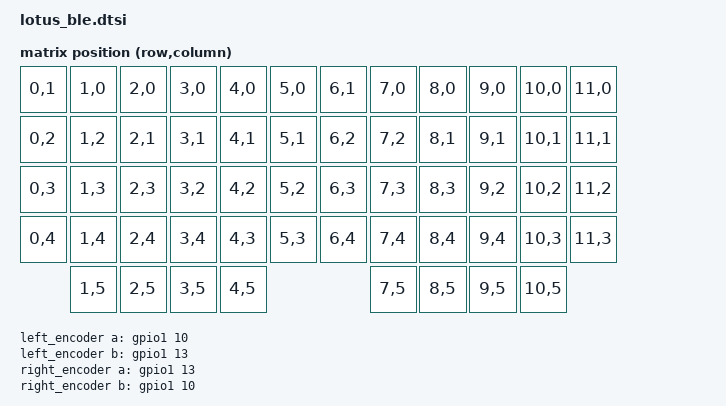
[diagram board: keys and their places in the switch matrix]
/*
 * Copyright (c) 2022 The ZMK Contributors
 *
 * SPDX-License-Identifier: MIT
 */

#include <dt-bindings/zmk/matrix_transform.h>

/ {
    chosen {
//        zephyr,display = &oled;
        zmk,kscan = &kscan0;
        zmk,matrix-transform = &default_transform;
    };

    default_transform: keymap_transform_0 {
    compatible = "zmk,matrix-transform";
    columns = <12>;
    rows = <5>;
// | SW6  | SW5  | SW4  | SW3  | SW2  | SW1  |                 | SW1  | SW2  | SW3  | SW4  | SW5  | SW6  |
// | SW12 | SW11 | SW10 | SW9  | SW8  | SW7  |                 | SW7  | SW8  | SW9  | SW10 | SW11 | SW12 |
// | SW18 | SW17 | SW16 | SW15 | SW14 | SW13 | SW30 |   | SW30 | SW13 | SW14 | SW15 | SW16 | SW17 | SW18 |
// | SW24 | SW23 | SW22 | SW21 | SW20 | SW19 | SW25 |   | SW25 | SW19 | SW20 | SW21 | SW22 | SW23 | SW24 |
//                      | SW29 | SW28 | SW27 | SW26 |   | SW26 | SW27 | SW28 | SW29 |
//         map = <
// RC(0,0) RC(0,1) RC(0,2) RC(0,3) RC(0,4) RC(0,5)                   RC(0,6) RC(0,7) RC(0,8)  RC(0,9) RC(0,10) RC(0,11)
// RC(1,0) RC(1,1) RC(1,2) RC(1,3) RC(1,4) RC(1,5)                   RC(1,6) RC(1,7) RC(1,8)  RC(1,9) RC(1,10) RC(1,11)
// RC(2,0) RC(2,1) RC(2,2) RC(2,3) RC(2,4) RC(2,5) RC(4,0)  RC(4,11) RC(2,6) RC(2,7) RC(2,8)  RC(2,9) RC(2,10) RC(2,11)
// RC(3,0) RC(3,1) RC(3,2) RC(3,3) RC(3,4) RC(3,5) RC(4,5)  RC(4,6)  RC(3,6) RC(3,7) RC(3,8)  RC(3,9) RC(3,10) RC(3,11)
//                         RC(4,1) RC(4,2) RC(4,3) RC(4,4)  RC(4,7)  RC(4,8) RC(4,9) RC(4,10)
//         >;
      map = <
RC(0,1) RC(1,0) RC(2,0) RC(3,0) RC(4,0) RC(5,0)  RC(6,1) RC(7,0) RC(8,0) RC(9,0) RC(10,0) RC(11,0)
RC(0,2) RC(1,2) RC(2,1) RC(3,1) RC(4,1) RC(5,1)  RC(6,2) RC(7,2) RC(8,1) RC(9,1) RC(10,1) RC(11,1)
RC(0,3) RC(1,3) RC(2,3) RC(3,2) RC(4,2) RC(5,2)  RC(6,3) RC(7,3) RC(8,3) RC(9,2) RC(10,2) RC(11,2)
RC(0,4) RC(1,4) RC(2,4) RC(3,4) RC(4,3) RC(5,3)  RC(6,4) RC(7,4) RC(8,4) RC(9,4) RC(10,3) RC(11,3)
        RC(1,5) RC(2,5) RC(3,5) RC(4,5)                  RC(7,5) RC(8,5) RC(9,5) RC(10,5)
      >;
    };

    kscan0: kscan {
    compatible = "zmk,kscan-gpio-charlieplex";
    wakeup-source;

    // interrupt-gpios = <&gpio0 13 (GPIO_ACTIVE_HIGH |GPIO_PULL_DOWN)>; // pin 6
  };

    left_encoder: encoder_left {
        compatible = "alps,ec11";
        a-gpios = <&gpio1 10 (GPIO_ACTIVE_HIGH | GPIO_PULL_UP)>;
        b-gpios = <&gpio1 13 (GPIO_ACTIVE_HIGH | GPIO_PULL_UP)>;
        steps = <80>;
        status = "disabled";
    };

    right_encoder: encoder_right {
        compatible = "alps,ec11";
        a-gpios = <&gpio1 13 (GPIO_ACTIVE_HIGH | GPIO_PULL_UP)>;
        b-gpios = <&gpio1 10 (GPIO_ACTIVE_HIGH | GPIO_PULL_UP)>;
        steps = <80>;
        status = "disabled";
    };

    sensors: sensors {
        compatible = "zmk,keymap-sensors";
        sensors = <&left_encoder &right_encoder>;
        triggers-per-rotation = <20>;
    };
};


nice_view_spi: &spi0 {
  compatible = "nordic,nrf-spim";
  pinctrl-0 = <&spi0_default>;
  pinctrl-1 = <&spi0_sleep>;
  pinctrl-names = "default", "sleep";
  cs-gpios = <&gpio0 31 GPIO_ACTIVE_HIGH>;
};

//&i2c0 {
//    status = "okay";

//    oled: ssd1306@3c {
//        compatible = "solomon,ssd1306fb";
//        reg = <0x3c>;
//        width = <128>;
//        height = <32>;
//        segment-offset = <0>;
//        page-offset = <0>;
//        display-offset = <0>;
//        multiplex-ratio = <31>;
//        segment-remap;
//        com-invdir;
//        com-sequential;
//        inversion-on;
//        prechargep = <0x22>;
//    };
// };
